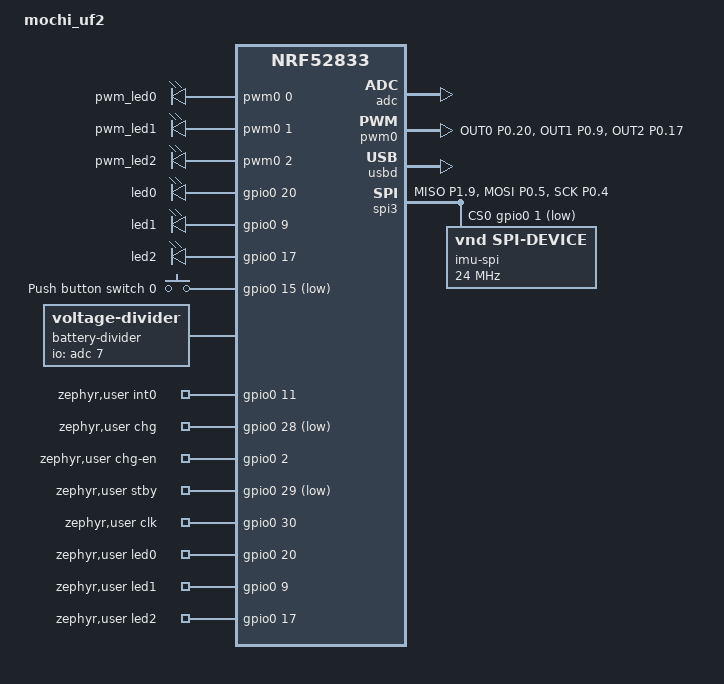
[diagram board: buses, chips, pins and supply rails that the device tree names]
// Copyright (c) 2024 Nordic Semiconductor ASA
// SPDX-License-Identifier: Apache-2.0

/dts-v1/;
#include <nordic/nrf52833_qiaa.dtsi>

//move to dtsi?
&pinctrl {
	pwm0_default: pwm0_default {
		group1 {
			psels = <NRF_PSEL(PWM_OUT0, 0, 20)>, // Red
				<NRF_PSEL(PWM_OUT1, 0, 9)>, // Green
				<NRF_PSEL(PWM_OUT2, 0, 17)>; // Blue
			nordic,drive-mode = <NRF_DRIVE_D0S1>;
		};
	};

	pwm0_sleep: pwm0_sleep {
		group1 {
			psels = <NRF_PSEL(PWM_OUT0, 0, 20)>, // Red
				<NRF_PSEL(PWM_OUT1, 0, 9)>, // Green
				<NRF_PSEL(PWM_OUT2, 0, 17)>; // Blue
			low-power-enable;
		};
	};

	spi3_default: spi3_default {
		group1 {
			psels = <NRF_PSEL(SPIM_MISO, 1, 9)>,
					<NRF_PSEL(SPIM_MOSI, 0, 5)>,
					<NRF_PSEL(SPIM_SCK, 0, 4)>;
		};
	};

	spi3_sleep: spi3_sleep {
		group1 {
			psels = <NRF_PSEL(SPIM_MISO, 1, 9)>,
					<NRF_PSEL(SPIM_MOSI, 0, 5)>,
					<NRF_PSEL(SPIM_SCK, 0, 4)>;
			low-power-enable;
		};
	};
};
//end

/ {
	model = "mochi_uf2";
	compatible = "mochi_uf2";

	chosen {
		zephyr,sram = &sram0;
		zephyr,flash = &flash0;
		zephyr,console = &cdc_acm_uart0;
		zephyr,shell-uart = &cdc_acm_uart0;
	};

	pwmleds {
		compatible = "pwm-leds";
		pwm_led0: pwm_led_0 {
			pwms = <&pwm0 0 PWM_MSEC(1) PWM_POLARITY_NORMAL>;
		};
		pwm_led1: pwm_led_1 {
			pwms = <&pwm0 1 PWM_MSEC(1) PWM_POLARITY_NORMAL>;
		};
		pwm_led2: pwm_led_2 {
			pwms = <&pwm0 2 PWM_MSEC(1) PWM_POLARITY_NORMAL>;
		};
	};

	leds {
		compatible = "gpio-leds";
		led0: led_0 {
			gpios = <&gpio0 20 GPIO_OPEN_SOURCE>;
		};
		led1: led_1 {
			gpios = <&gpio0 9 GPIO_OPEN_SOURCE>;
		};
		led2: led_2 {
			gpios = <&gpio0 17 GPIO_OPEN_SOURCE>;
		};
	};

	buttons {
		compatible = "gpio-keys";
		button0: button_0 {
			gpios = <&gpio0 15 (GPIO_PULL_UP | GPIO_ACTIVE_LOW)>;
			label = "Push button switch 0";
		};
	};

	aliases {
		sw0 = &button0;
		pwm-led0 = &pwm_led0;
		pwm-led1 = &pwm_led1;
		pwm-led2 = &pwm_led2;
		led0 = &led0;
		led1 = &led1;
		led2 = &led2;
	};

	battery-divider {
		compatible = "voltage-divider";
		status = "okay";
		io-channels = <&adc 7>;
		output-ohms = <3300000>;
		full-ohms = <(5600000+3300000)>;
	};

	zephyr,user {
		int0-gpios = <&gpio0 11 0>;
		chg-gpios = <&gpio0 28 (GPIO_ACTIVE_LOW | GPIO_PULL_UP)>;
		chg-en-gpios = <&gpio0 2 (GPIO_ACTIVE_HIGH | GPIO_PULL_UP)>;
		stby-gpios = <&gpio0 29 (GPIO_ACTIVE_LOW | GPIO_PULL_UP)>;
		clk-gpios = <&gpio0 30 (GPIO_OPEN_DRAIN)>;
		led0-gpios = <&gpio0 20 (GPIO_OPEN_SOURCE)>;
		led1-gpios = <&gpio0 9 (GPIO_OPEN_SOURCE)>;
		led2-gpios = <&gpio0 17 (GPIO_OPEN_SOURCE)>;
	};

};

&reg1 {
	regulator-initial-mode = <NRF5X_REG_MODE_DCDC>;
};

&adc {
	status = "okay";
};

&gpiote {
	status = "okay";
};

&gpio0 {
	status = "okay";
};

&gpio1 {
	status = "okay";
};

&pwm0 {
	status = "okay";
	pinctrl-0 = <&pwm0_default>;
	pinctrl-1 = <&pwm0_sleep>;
	pinctrl-names = "default", "sleep";
};

zephyr_udc0: &usbd {
	compatible = "nordic,nrf-usbd";
	status = "okay";
	cdc_acm_uart0: cdc_acm_uart0 {
		compatible = "zephyr,cdc-acm-uart";
	};
};

&nfct {
	status = "disabled";
};

&spi3 {
	compatible = "nordic,nrf-spim";
	status = "okay";
	max-frequency = <DT_FREQ_M(24)>;
	pinctrl-0 = <&spi3_default>;
	pinctrl-1 = <&spi3_sleep>;
	pinctrl-names = "default", "sleep";
	cs-gpios = <&gpio0 1 GPIO_ACTIVE_LOW>;

	imu_spi: imu_spi@0 {
		compatible = "vnd,spi-device";
		spi-max-frequency = <DT_FREQ_M(24)>;
		label = "imu-spi";
		reg = <0>;
	};
};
